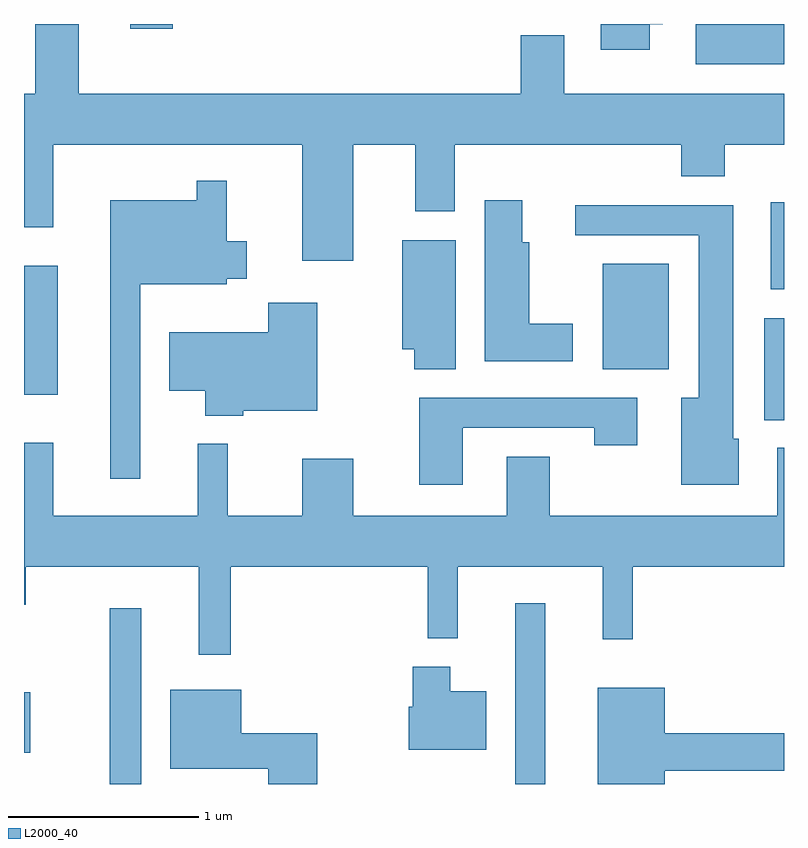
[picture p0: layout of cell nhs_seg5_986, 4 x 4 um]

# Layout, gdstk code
import gdstk
lib = gdstk.Library(unit=1e-6, precision=1e-09)
def R(c, l, rs):  # rectangles x0, y0, x1, y1
    for r in rs: c.add(gdstk.rectangle(r[:2], r[2:], *l))
def P(c, l, *ps):  # polygons
    for p in ps: c.add(gdstk.Polygon(p, *l))
L2000_40 = (2000, 40)

nhs_seg5_986 = lib.new_cell('nhs_seg5_986')
R(nhs_seg5_986, L2000_40, [(214.061,1480.072,214.229,1480.998), (216.196,1480.072,216.354,1481.023), (213.611,1480.236,213.644,1480.554), (217.506,1481.986,217.611,1482.524), (213.611,1482.121,213.789,1482.799), (216.656,1482.256,217.004,1482.809), (217.541,1482.676,217.611,1483.134), (217.146,1483.861,217.611,1484.072), (214.171,1484.046,214.394,1484.072)])
P(nhs_seg5_986, L2000_40, [(215.344,1483.436),(215.671,1483.436),(215.671,1483.086),(215.879,1483.086),(215.879,1483.436),(217.071,1483.436),(217.071,1483.271),(217.299,1483.271),(217.299,1483.436),(217.611,1483.436),(217.611,1483.704),(216.454,1483.704),(216.454,1484.014),(216.226,1484.014),(216.226,1483.704),(213.899,1483.704),(213.899,1484.072),(213.671,1484.072),(213.671,1483.704),(213.611,1483.704),(213.611,1483.003),(213.764,1483.003),(213.764,1483.436),(215.076,1483.436),(215.076,1482.826),(215.344,1482.826)],
  [(216.904,1484.071),(216.974,1484.071),(216.974,1484.072),(216.646,1484.072),(216.646,1483.936),(216.904,1483.936)],
  [(214.224,1482.701),(214.679,1482.701),(214.679,1482.731),(214.784,1482.731),(214.784,1482.929),(214.679,1482.929),(214.679,1483.248),(214.521,1483.248),(214.521,1483.144),(214.066,1483.144),(214.066,1481.678),(214.224,1481.678)],
  [(216.499,1482.494),(216.269,1482.494),(216.269,1482.924),(216.234,1482.924),(216.234,1483.144),(216.036,1483.144),(216.036,1482.296),(216.499,1482.296)],
  [(217.374,1481.889),(217.344,1481.889),(217.344,1483.119),(216.513,1483.119),(216.513,1482.961),(217.161,1482.961),(217.161,1482.104),(217.071,1482.104),(217.071,1481.646),(217.374,1481.646)],
  [(215.884,1482.934),(215.601,1482.934),(215.601,1482.361),(215.666,1482.361),(215.666,1482.256),(215.884,1482.256)],
  [(214.764,1482.036),(215.154,1482.036),(215.154,1482.604),(214.896,1482.604),(214.896,1482.449),(214.376,1482.449),(214.376,1482.141),(214.566,1482.141),(214.566,1482.011),(214.764,1482.011)],
  [(215.919,1481.946),(216.611,1481.946),(216.611,1481.856),(216.839,1481.856),(216.839,1482.104),(215.691,1482.104),(215.691,1481.646),(215.919,1481.646)],
  [(214.699,1481.216),(215.736,1481.216),(215.736,1480.838),(215.894,1480.838),(215.894,1481.216),(216.656,1481.216),(216.656,1480.833),(216.814,1480.833),(216.814,1481.216),(217.611,1481.216),(217.611,1481.843),(217.576,1481.843),(217.576,1481.484),(216.379,1481.484),(216.379,1481.794),(216.151,1481.794),(216.151,1481.484),(215.344,1481.484),(215.344,1481.784),(215.076,1481.784),(215.076,1481.484),(214.684,1481.484),(214.684,1481.863),(214.526,1481.863),(214.526,1481.484),(213.764,1481.484),(213.764,1481.868),(213.611,1481.868),(213.611,1481.016),(213.619,1481.016),(213.619,1481.216),(214.531,1481.216),(214.531,1480.753),(214.699,1480.753)],
  [(216.044,1480.559),(215.854,1480.559),(215.854,1480.689),(215.656,1480.689),(215.656,1480.479),(215.636,1480.479),(215.636,1480.251),(216.044,1480.251)],
  [(216.984,1480.141),(217.611,1480.141),(217.611,1480.339),(216.984,1480.339),(216.984,1480.579),(216.631,1480.579),(216.631,1480.072),(216.984,1480.072)],
  [(215.154,1480.339),(214.754,1480.339),(214.754,1480.569),(214.381,1480.569),(214.381,1480.151),(214.896,1480.151),(214.896,1480.072),(215.154,1480.072)])

lib.write_gds('nhs_seg5_986.gds')
